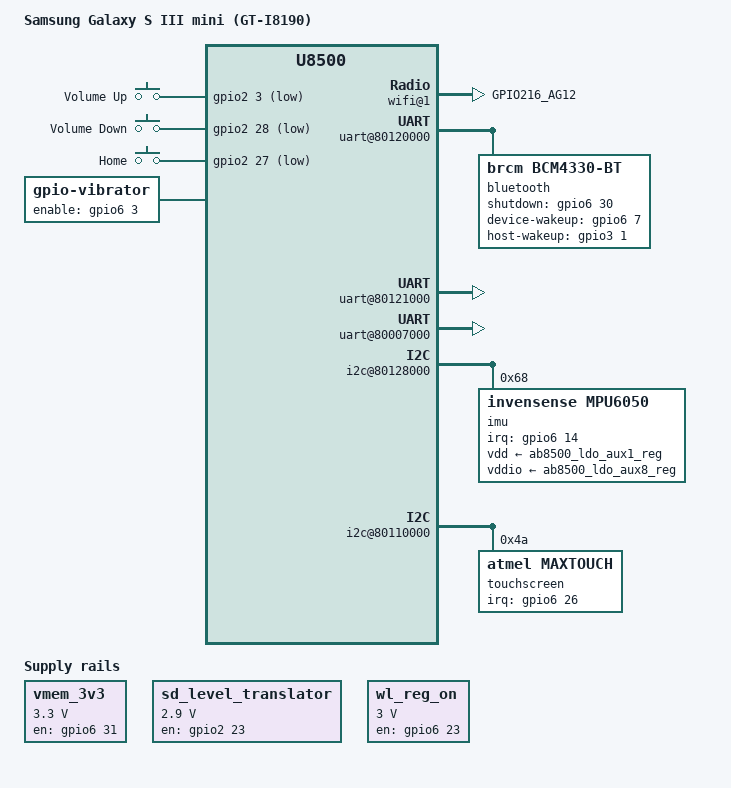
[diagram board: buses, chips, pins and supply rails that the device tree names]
// SPDX-License-Identifier: GPL-2.0-only
/dts-v1/;

#include "ste-db8500.dtsi"
#include "ste-ab8505.dtsi"
#include "ste-dbx5x0-pinctrl.dtsi"
#include <dt-bindings/gpio/gpio.h>
#include <dt-bindings/input/input.h>
#include <dt-bindings/interrupt-controller/irq.h>

/*
 * Note: This device tree cannot be booted directly with the Samsung bootloader.
 * You need an intermediate, device-tree compatible bootloader
 * that locks the L2 cache. Otherwise the kernel will crash after decompression.
 *
 * There is a port of (mainline) U-Boot, see
 * https://wiki.postmarketos.org/wiki/ST-Ericsson_NovaThor_U8500#U-Boot
 */
/ {
	model = "Samsung Galaxy S III mini (GT-I8190)";
	compatible = "samsung,golden", "st-ericsson,u8500";

	chosen {
		stdout-path = &serial2;
	};

	soc {
		/* External Micro SD card slot */
		sdi0_per1@80126000 {
			status = "okay";

			arm,primecell-periphid = <0x10480180>;
			max-frequency = <100000000>;
			bus-width = <4>;

			non-removable;
			/*
			 * Unfortunately, there is no way to enable the UHS
			 * modes due to a limitation of the SD level translator:
			 * It will either translate to 2.9V or disconnect the
			 * DATA lines, so switching to 1.8V signal voltage fails.
			 */
			cap-sd-highspeed;
			cap-mmc-highspeed;
			st,sig-pin-fbclk;
			full-pwr-cycle;

			vmmc-supply = <&ab8500_ldo_aux3_reg>;
			vqmmc-supply = <&sd_level_translator>;

			pinctrl-names = "default", "sleep";
			pinctrl-0 = <&mc0_a_2_default>;
			pinctrl-1 = <&mc0_a_2_sleep>;
		};

		/* WLAN SDIO */
		sdi1_per2@80118000 {
			status = "okay";

			arm,primecell-periphid = <0x10480180>;
			max-frequency = <50000000>;
			bus-width = <4>;

			non-removable;
			cap-sd-highspeed;

			vmmc-supply = <&wl_reg_on>;

			pinctrl-names = "default", "sleep";
			pinctrl-0 = <&mc1_a_2_default>;
			pinctrl-1 = <&mc1_a_2_sleep>;

			#address-cells = <1>;
			#size-cells = <0>;

			wifi@1 {
				compatible = "brcm,bcm4329-fmac";
				reg = <1>;

				/* GPIO216 (WLAN_HOST_WAKE) */
				interrupt-parent = <&gpio6>;
				interrupts = <24 IRQ_TYPE_EDGE_FALLING>;
				interrupt-names = "host-wake";

				pinctrl-names = "default";
				pinctrl-0 = <&wlan_default>;
			};
		};

		/* eMMC */
		sdi2_per3@80005000 {
			status = "okay";

			arm,primecell-periphid = <0x10480180>;
			max-frequency = <100000000>;
			bus-width = <8>;

			non-removable;
			cap-mmc-highspeed;
			mmc-ddr-1_8v;

			vmmc-supply = <&vmem_3v3>;

			pinctrl-names = "default", "sleep";
			pinctrl-0 = <&mc2_a_1_default>;
			pinctrl-1 = <&mc2_a_1_sleep>;
		};

		/* BT UART */
		uart@80120000 {
			status = "okay";

			pinctrl-names = "default", "sleep";
			pinctrl-0 = <&u0_a_1_default>;
			pinctrl-1 = <&u0_a_1_sleep>;

			bluetooth {
				compatible = "brcm,bcm4330-bt";
				/* GPIO222 (BT_VREG_ON) */
				shutdown-gpios = <&gpio6 30 GPIO_ACTIVE_HIGH>;
				/* GPIO199 (BT_WAKE) */
				device-wakeup-gpios = <&gpio6 7 GPIO_ACTIVE_HIGH>;
				/* GPIO97 (BT_HOST_WAKE) */
				host-wakeup-gpios = <&gpio3 1 GPIO_ACTIVE_HIGH>;

				pinctrl-names = "default";
				pinctrl-0 = <&bluetooth_default>;
			};
		};

		/* GPF UART */
		uart@80121000 {
			status = "okay";

			pinctrl-names = "default", "sleep";
			pinctrl-0 = <&u1rxtx_a_1_default &u1ctsrts_a_1_default>;
			pinctrl-1 = <&u1rxtx_a_1_sleep &u1ctsrts_a_1_sleep>;
		};

		/* Debugging console UART */
		uart@80007000 {
			status = "okay";

			pinctrl-names = "default", "sleep";
			pinctrl-0 = <&u2rxtx_c_1_default>;
			pinctrl-1 = <&u2rxtx_c_1_sleep>;
		};

		i2c@80128000 {
			status = "okay";

			pinctrl-names = "default", "sleep";
			pinctrl-0 = <&i2c2_b_2_default>;
			pinctrl-1 = <&i2c2_b_2_sleep>;

			imu@68 {
				compatible = "invensense,mpu6050";
				reg = <0x68>;

				/* GPIO206 (ACC_INT) */
				interrupt-parent = <&gpio6>;
				interrupts = <14 IRQ_TYPE_EDGE_RISING>;

				mount-matrix = "0", "1", "0",
					      "-1", "0", "0",
					       "0", "0", "1";

				vdd-supply = <&ab8500_ldo_aux1_reg>;
				vddio-supply = <&ab8500_ldo_aux8_reg>;

				pinctrl-names = "default";
				pinctrl-0 = <&imu_default>;
			};
		};

		i2c@80110000 {
			status = "okay";

			pinctrl-names = "default", "sleep";
			pinctrl-0 = <&i2c3_c_2_default>;
			pinctrl-1 = <&i2c3_c_2_sleep>;

			touchscreen@4a {
				compatible = "atmel,maxtouch";
				reg = <0x4a>;

				/* GPIO218 (TSP_INT_1V8) */
				interrupt-parent = <&gpio6>;
				interrupts = <26 IRQ_TYPE_EDGE_FALLING>;

				pinctrl-names = "default";
				pinctrl-0 = <&tsp_default>;
			};
		};

		prcmu@80157000 {
			ab8505 {
				ab8500_usb {
					pinctrl-names = "default", "sleep";
					pinctrl-0 = <&usb_a_1_default>;
					pinctrl-1 = <&usb_a_1_sleep>;
				};

				ab8505-regulators {
					ab8500_ldo_aux1 {
						regulator-name = "sensor_3v";
						regulator-min-microvolt = <3000000>;
						regulator-max-microvolt = <3000000>;
					};

					ab8500_ldo_aux2 {
						regulator-name = "vreg_tsp_a3v3";
						regulator-min-microvolt = <3300000>;
						regulator-max-microvolt = <3300000>;
						regulator-always-on; /* FIXME */
					};

					ab8500_ldo_aux3 {
						regulator-name = "vdd_tf_2v91";
					};

					ab8500_ldo_aux4 {
						regulator-name = "key_led_3.3v";
						regulator-min-microvolt = <3300000>;
						regulator-max-microvolt = <3300000>;
					};

					ab8500_ldo_aux5 {
						regulator-name = "vreg_tsp_1v8";
						regulator-min-microvolt = <1800000>;
						regulator-max-microvolt = <1800000>;
						regulator-always-on; /* FIXME */
					};

					ab8500_ldo_aux6 {
						regulator-name = "touch_key_2.2v";
						regulator-min-microvolt = <2200000>;
						regulator-max-microvolt = <2200000>;
					};

					ab8500_ldo_aux8 {
						regulator-name = "sensor_1v8";
					};
				};
			};
		};
	};

	gpio-keys {
		compatible = "gpio-keys";

		pinctrl-names = "default";
		pinctrl-0 = <&gpio_keys_default>;

		label = "GPIO Buttons";

		volume-up {
			label = "Volume Up";
			/* GPIO67 (VOL_UP) */
			gpios = <&gpio2 3 GPIO_ACTIVE_LOW>;
			linux,code = <KEY_VOLUMEUP>;
		};

		volume-down {
			label = "Volume Down";
			/* GPIO92 (VOL_DOWN) */
			gpios = <&gpio2 28 GPIO_ACTIVE_LOW>;
			linux,code = <KEY_VOLUMEDOWN>;
		};

		home {
			label = "Home";
			/* GPIO91 (HOME_KEY) */
			gpios = <&gpio2 27 GPIO_ACTIVE_LOW>;
			linux,code = <KEY_HOMEPAGE>;
		};
	};

	vibrator {
		compatible = "gpio-vibrator";
		/* GPIO195 (MOT_EN) */
		enable-gpios = <&gpio6 3 GPIO_ACTIVE_HIGH>;

		pinctrl-names = "default";
		pinctrl-0 = <&vibrator_default>;
	};

	/* External LDO for eMMC */
	vmem_3v3: regulator-vmem {
		compatible = "regulator-fixed";

		regulator-name = "vmem_3v3";
		regulator-min-microvolt = <3300000>;
		regulator-max-microvolt = <3300000>;
		regulator-boot-on;

		startup-delay-us = <200>;

		/* GPIO223 (MEM_LDO_EN) */
		gpio = <&gpio6 31 GPIO_ACTIVE_HIGH>;
		enable-active-high;

		pinctrl-names = "default";
		pinctrl-0 = <&mem_ldo_default>;
	};

	/* TI TXS0206-29 level translator for 2.9 V */
	sd_level_translator: regulator-sd-level-translator {
		compatible = "regulator-fixed";

		regulator-name = "sd-level-translator";
		regulator-min-microvolt = <2900000>;
		regulator-max-microvolt = <2900000>;

		startup-delay-us = <200>;

		/* GPIO87 (TXS0206-29_EN) */
		gpios = <&gpio2 23 GPIO_ACTIVE_HIGH>;
		enable-active-high;

		pinctrl-names = "default";
		pinctrl-0 = <&sd_level_translator_default>;
	};

	/*
	 * WL_REG_ON takes WLAN out of reset and enables the internal regulators.
	 * The voltage specified here is only used to determine the OCR mask,
	 * the BCM chip is actually connected directly to VBAT.
	 */
	wl_reg_on: regulator-wl-reg-on {
		compatible = "regulator-fixed";

		regulator-name = "wl-reg-on";
		regulator-min-microvolt = <3000000>;
		regulator-max-microvolt = <3000000>;

		startup-delay-us = <100000>;

		/* GPIO215 (WLAN_EN) */
		gpio = <&gpio6 23 GPIO_ACTIVE_HIGH>;
		enable-active-high;

		pinctrl-names = "default";
		pinctrl-0 = <&wlan_en_default>;
	};
};

&pinctrl {
	gpio-keys {
		gpio_keys_default: gpio_keys_default {
			golden_cfg1 {
				pins = "GPIO67",	/* VOL_UP */
				       "GPIO91",	/* HOME_KEY */
				       "GPIO92";	/* VOL_DOWN */
				ste,config = <&gpio_in_pu>;
			};
		};
	};

	sdi0 {
		sd_level_translator_default: sd_level_translator_default {
			golden_cfg1 {
				pins = "GPIO87_B3";	/* TXS0206-29_EN */
				ste,config = <&gpio_out_lo>;
			};
		};
	};

	sdi2 {
		mem_ldo_default: mem_ldo_default {
			golden_cfg1 {
				pins = "GPIO223_AH9";	/* MEM_LDO_EN */
				ste,config = <&gpio_out_hi>;
			};
		};
	};

	imu {
		imu_default: imu_default {
			golden_cfg1 {
				pins = "GPIO206_AG24";	/* ACC_INT */
				ste,config = <&gpio_in_pd>;
			};
		};
	};

	tsp {
		tsp_default: tsp_default {
			golden_cfg1 {
				pins = "GPIO218_AH11";	/* TSP_INT_1V8 */
				ste,config = <&gpio_in_nopull>;
			};
		};
	};

	wlan {
		wlan_default: wlan_default {
			golden_cfg1 {
				pins = "GPIO216_AG12";	/* WLAN_HOST_WAKE */
				ste,config = <&gpio_in_pd>;
			};
		};

		wlan_en_default: wlan_en_default {
			golden_cfg1 {
				pins = "GPIO215_AH13";	/* WLAN_EN */
				ste,config = <&gpio_out_lo>;
			};
		};
	};

	bluetooth {
		bluetooth_default: bluetooth_default {
			golden_cfg1 {
				pins = "GPIO199_AH23",	/* BT_WAKE */
				       "GPIO222_AJ9";	/* BT_VREG_ON */
				ste,config = <&gpio_out_lo>;
			};
			golden_cfg2 {
				pins = "GPIO97_D9";	/* BT_HOST_WAKE */
				ste,config = <&gpio_in_nopull>;
			};
		};
	};

	vibrator {
		vibrator_default: vibrator_default {
			golden_cfg1 {
				pins = "GPIO195_AG28";	/* MOT_EN */
				ste,config = <&gpio_out_lo>;
			};
		};
	};
};

&ab8505_gpio {
	/* Hog a few default settings */
	pinctrl-names = "default";
	pinctrl-0 = <&gpio_default>;

	gpio {
		gpio_default: gpio_default {
			golden_mux {
				/* Change unused pins to GPIO mode */
				function = "gpio";
				groups = "gpio3_a_1",	/* default: SysClkReq4 */
					 "gpio14_a_1";	/* default: PWMOut1 */
			};
			golden_cfg1 {
				pins = "GPIO11_B17", "GPIO13_D17", "GPIO50_L4";
				bias-disable;
			};
		};
	};
};
